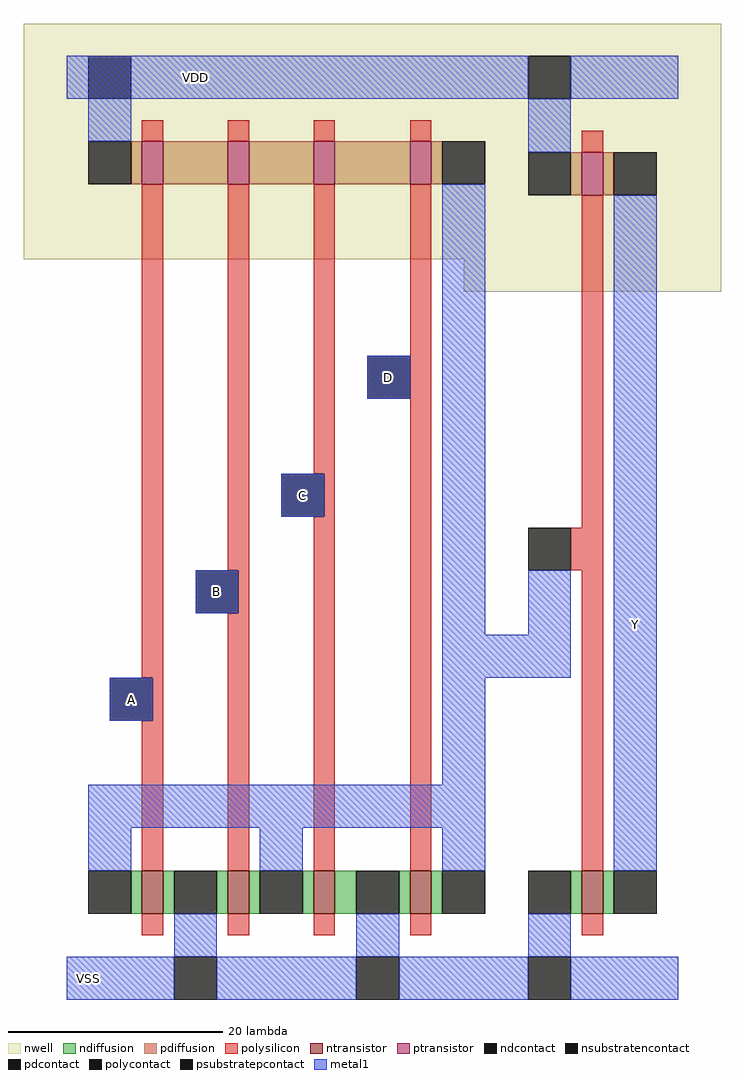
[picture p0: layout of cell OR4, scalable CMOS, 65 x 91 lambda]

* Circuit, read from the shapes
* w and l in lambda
.subckt OR4 A B C D VDD VSS Y
M1 VSS A INV_0/A VSS nfet w=4 l=2
M2 INV_0/A B VSS VSS nfet w=4 l=2
M3 VSS C INV_0/A VSS nfet w=4 l=2
M4 INV_0/A D VSS VSS nfet w=4 l=2
M5 Y INV_0/A VSS VSS nfet w=4 l=2
M6 n1 A VDD VDD pfet w=4 l=2
M7 n2 B n1 VDD pfet w=4 l=2
M8 n3 C n2 VDD pfet w=4 l=2
M9 INV_0/A D n3 VDD pfet w=4 l=2
M10 Y INV_0/A VDD VDD pfet w=4 l=2
.ends

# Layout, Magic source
magic
tech scmos
<< metal1 >>
rect 4 84 18 88
rect 32 56 36 60
rect 24 45 28 49
rect 16 36 20 40
rect 47 34 51 40
rect 43 30 51 34
rect 55 30 59 40
rect 8 26 12 30
rect 4 0 9 4
use INV  INV_0
transform 1 0 45 0 1 0
box -4 0 20 91
use NOR4  NOR4_0
transform 1 0 4 0 1 0
box -4 0 45 91
<< labels >>
rlabel metal1 6 2 6 2 1 VSS
rlabel metal1 57 35 57 35 1 Y
rlabel metal1 10 28 10 28 1 A
rlabel metal1 18 38 18 38 1 B
rlabel metal1 26 47 26 47 1 C
rlabel metal1 34 58 34 58 1 D
rlabel metal1 16 86 16 86 1 VDD
<< end >>

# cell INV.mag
magic
tech scmos
<< nwell >>
rect -4 66 20 91
<< ntransistor >>
rect 7 8 9 12
<< ptransistor >>
rect 7 75 9 79
<< ndiffusion >>
rect 6 8 7 12
rect 9 8 10 12
<< pdiffusion >>
rect 6 75 7 79
rect 9 75 10 79
<< ndcontact >>
rect 2 8 6 12
rect 10 8 14 12
<< pdcontact >>
rect 2 75 6 79
rect 10 75 14 79
<< psubstratepcontact >>
rect 2 0 6 4
<< nsubstratencontact >>
rect 2 84 6 88
<< polysilicon >>
rect 7 79 9 81
rect 7 44 9 75
rect 6 40 9 44
rect 7 12 9 40
rect 7 6 9 8
<< polycontact >>
rect 2 40 6 44
<< metal1 >>
rect 0 84 2 88
rect 6 84 16 88
rect 2 79 6 84
rect 10 12 14 75
rect 2 4 6 8
rect 0 0 2 4
rect 6 0 16 4
<< labels >>
rlabel metal1 1 2 1 2 2 VSS
rlabel metal1 12 17 12 17 1 Y
rlabel metal1 1 86 1 86 4 VDD
rlabel polycontact 4 42 4 42 1 A
<< end >>

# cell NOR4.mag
magic
tech scmos
<< nwell >>
rect -4 69 45 91
<< ntransistor >>
rect 7 8 9 12
rect 15 8 17 12
rect 23 8 25 12
rect 32 8 34 12
<< ptransistor >>
rect 7 76 9 80
rect 15 76 17 80
rect 23 76 25 80
rect 32 76 34 80
<< ndiffusion >>
rect 6 8 7 12
rect 9 8 10 12
rect 14 8 15 12
rect 17 8 18 12
rect 22 8 23 12
rect 25 8 27 12
rect 31 8 32 12
rect 34 8 35 12
<< pdiffusion >>
rect 6 76 7 80
rect 9 76 15 80
rect 17 76 23 80
rect 25 76 32 80
rect 34 76 35 80
<< ndcontact >>
rect 2 8 6 12
rect 10 8 14 12
rect 18 8 22 12
rect 27 8 31 12
rect 35 8 39 12
<< pdcontact >>
rect 2 76 6 80
rect 35 76 39 80
<< psubstratepcontact >>
rect 10 0 14 4
rect 27 0 31 4
<< nsubstratencontact >>
rect 2 84 6 88
<< polysilicon >>
rect 7 80 9 82
rect 15 80 17 82
rect 23 80 25 82
rect 32 80 34 82
rect 7 30 9 76
rect 15 40 17 76
rect 23 49 25 76
rect 24 45 25 49
rect 16 36 17 40
rect 8 26 9 30
rect 7 12 9 26
rect 15 12 17 36
rect 23 12 25 45
rect 32 12 34 76
rect 7 6 9 8
rect 15 6 17 8
rect 23 6 25 8
rect 32 6 34 8
<< polycontact >>
rect 28 56 32 60
rect 20 45 24 49
rect 12 36 16 40
rect 4 26 8 30
<< metal1 >>
rect 0 84 2 88
rect 6 84 41 88
rect 2 80 6 84
rect 35 20 39 76
rect 2 16 39 20
rect 2 12 6 16
rect 18 12 22 16
rect 35 12 39 16
rect 10 4 14 8
rect 27 4 31 8
rect 0 0 10 4
rect 14 0 27 4
rect 31 0 41 4
<< labels >>
rlabel psubstratepcontact 12 2 12 2 1 VSS
rlabel psubstratepcontact 29 2 29 2 1 VSS
rlabel polycontact 6 28 6 28 1 A
rlabel polycontact 14 38 14 38 1 B
rlabel polycontact 22 47 22 47 1 C
rlabel polycontact 30 58 30 58 1 D
rlabel metal1 37 42 37 42 1 Y
rlabel nsubstratencontact 4 86 4 86 1 VDD
<< end >>
